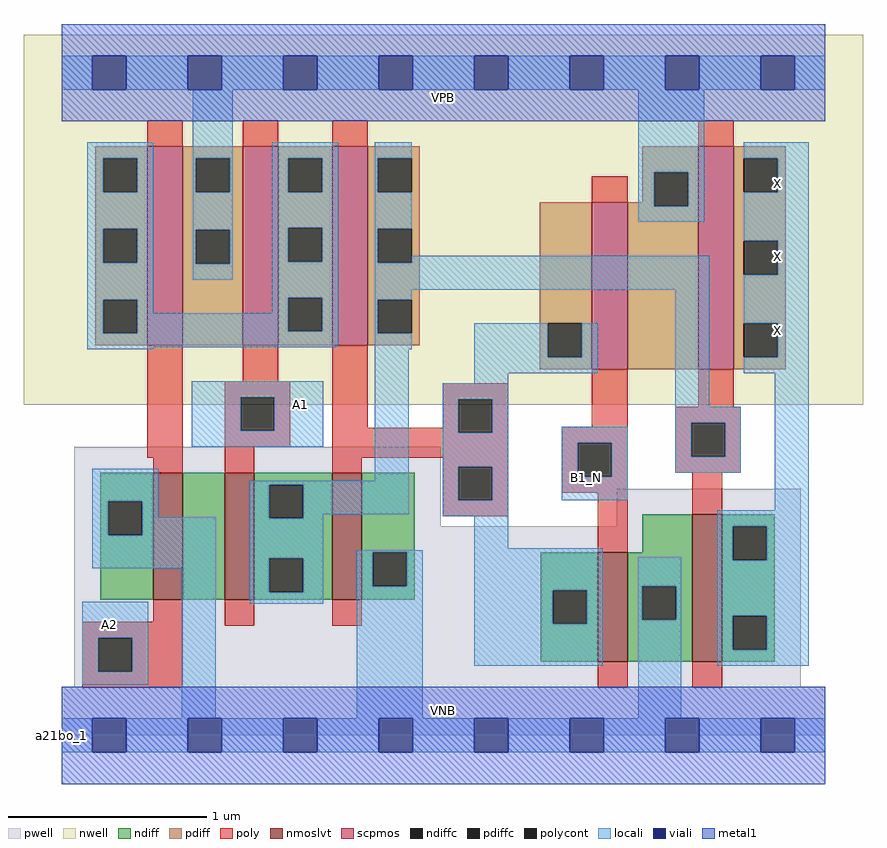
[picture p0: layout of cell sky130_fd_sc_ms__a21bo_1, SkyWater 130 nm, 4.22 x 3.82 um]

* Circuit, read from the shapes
.subckt sky130_fd_sc_ms__a21bo_1 A1 A2 B1_N VGND VNB VPB VPWR X
XM1 n1 A2 VGND VNB sky130_fd_pr__nfet_01v8_lvt w=0.64 l=0.15
XM2 n2 A1 n1 VNB sky130_fd_pr__nfet_01v8_lvt w=0.64 l=0.15
XM3 VGND n3 n2 VNB sky130_fd_pr__nfet_01v8_lvt w=0.64 l=0.15
XM4 VGND B1_N n3 VNB sky130_fd_pr__nfet_01v8_lvt w=0.55 l=0.15
XM5 X n2 VGND VNB sky130_fd_pr__nfet_01v8_lvt w=0.74 l=0.15
XM6 VPWR A2 n4 VPB sky130_fd_pr__pfet_01v8 w=1 l=0.18
XM7 n4 A1 VPWR VPB sky130_fd_pr__pfet_01v8 w=1 l=0.18
XM8 n2 n3 n4 VPB sky130_fd_pr__pfet_01v8 w=1 l=0.18
XM9 VPWR B1_N n3 VPB sky130_fd_pr__pfet_01v8 w=0.84 l=0.18
XM10 X n2 VPWR VPB sky130_fd_pr__pfet_01v8 w=1.12 l=0.18
.ends

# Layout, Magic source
magic
tech sky130A
magscale 1 2
<< nwell >>
rect -38 332 806 704
<< pwell >>
rect 13 210 381 290
rect 558 210 743 248
rect 13 49 743 210
rect 0 0 768 49
<< scpmos >>
rect 86 392 122 592
rect 182 392 218 592
rect 272 392 308 592
rect 533 368 569 536
rect 640 368 676 592
<< nmoslvt >>
rect 92 136 122 264
rect 164 136 194 264
rect 272 136 302 264
rect 539 74 569 184
rect 634 74 664 222
<< ndiff >>
rect 39 235 92 264
rect 39 201 47 235
rect 81 201 92 235
rect 39 136 92 201
rect 122 136 164 264
rect 194 252 272 264
rect 194 218 209 252
rect 243 218 272 252
rect 194 178 272 218
rect 194 144 209 178
rect 243 144 272 178
rect 194 136 272 144
rect 302 184 355 264
rect 584 184 634 222
rect 302 150 313 184
rect 347 150 355 184
rect 302 136 355 150
rect 482 146 539 184
rect 482 112 494 146
rect 528 112 539 146
rect 482 74 539 112
rect 569 150 634 184
rect 569 116 584 150
rect 618 116 634 150
rect 569 74 634 116
rect 664 210 717 222
rect 664 176 675 210
rect 709 176 717 210
rect 664 120 717 176
rect 664 86 675 120
rect 709 86 717 120
rect 664 74 717 86
<< pdiff >>
rect 34 580 86 592
rect 34 546 42 580
rect 76 546 86 580
rect 34 509 86 546
rect 34 475 42 509
rect 76 475 86 509
rect 34 438 86 475
rect 34 404 42 438
rect 76 404 86 438
rect 34 392 86 404
rect 122 580 182 592
rect 122 546 135 580
rect 169 546 182 580
rect 122 508 182 546
rect 122 474 135 508
rect 169 474 182 508
rect 122 392 182 474
rect 218 580 272 592
rect 218 546 228 580
rect 262 546 272 580
rect 218 510 272 546
rect 218 476 228 510
rect 262 476 272 510
rect 218 440 272 476
rect 218 406 228 440
rect 262 406 272 440
rect 218 392 272 406
rect 308 580 360 592
rect 308 546 318 580
rect 352 546 360 580
rect 584 566 640 592
rect 308 509 360 546
rect 584 536 596 566
rect 308 475 318 509
rect 352 475 360 509
rect 308 438 360 475
rect 308 404 318 438
rect 352 404 360 438
rect 308 392 360 404
rect 481 414 533 536
rect 481 380 489 414
rect 523 380 533 414
rect 481 368 533 380
rect 569 532 596 536
rect 630 532 640 566
rect 569 368 640 532
rect 676 580 728 592
rect 676 546 686 580
rect 720 546 728 580
rect 676 497 728 546
rect 676 463 686 497
rect 720 463 728 497
rect 676 414 728 463
rect 676 380 686 414
rect 720 380 728 414
rect 676 368 728 380
<< ndiffc >>
rect 47 201 81 235
rect 209 218 243 252
rect 209 144 243 178
rect 313 150 347 184
rect 494 112 528 146
rect 584 116 618 150
rect 675 176 709 210
rect 675 86 709 120
<< pdiffc >>
rect 42 546 76 580
rect 42 475 76 509
rect 42 404 76 438
rect 135 546 169 580
rect 135 474 169 508
rect 228 546 262 580
rect 228 476 262 510
rect 228 406 262 440
rect 318 546 352 580
rect 318 475 352 509
rect 318 404 352 438
rect 489 380 523 414
rect 596 532 630 566
rect 686 546 720 580
rect 686 463 720 497
rect 686 380 720 414
<< poly >>
rect 86 592 122 618
rect 182 592 218 618
rect 272 592 308 618
rect 640 592 676 618
rect 533 536 569 562
rect 86 279 122 392
rect 182 356 218 392
rect 92 264 122 279
rect 164 340 230 356
rect 164 306 180 340
rect 214 306 230 340
rect 164 290 230 306
rect 272 309 308 392
rect 383 338 449 354
rect 383 309 399 338
rect 272 304 399 309
rect 433 304 449 338
rect 533 310 569 368
rect 640 330 676 368
rect 164 264 194 290
rect 272 279 449 304
rect 272 264 302 279
rect 383 270 449 279
rect 383 236 399 270
rect 433 236 449 270
rect 503 294 569 310
rect 503 260 519 294
rect 553 260 569 294
rect 617 314 683 330
rect 617 280 633 314
rect 667 280 683 314
rect 617 264 683 280
rect 503 244 569 260
rect 383 220 449 236
rect 539 184 569 244
rect 634 222 664 264
rect 92 114 122 136
rect 21 98 122 114
rect 164 110 194 136
rect 272 110 302 136
rect 21 64 37 98
rect 71 64 122 98
rect 21 48 122 64
rect 539 48 569 74
rect 634 48 664 74
<< polycont >>
rect 180 306 214 340
rect 399 304 433 338
rect 399 236 433 270
rect 519 260 553 294
rect 633 280 667 314
rect 37 64 71 98
<< locali >>
rect 0 649 31 683
rect 65 649 127 683
rect 161 649 223 683
rect 257 649 319 683
rect 353 649 415 683
rect 449 649 511 683
rect 545 649 607 683
rect 641 649 703 683
rect 737 649 768 683
rect 26 580 92 596
rect 26 546 42 580
rect 76 546 92 580
rect 26 509 92 546
rect 26 475 42 509
rect 76 475 92 509
rect 26 438 92 475
rect 132 580 172 649
rect 132 546 135 580
rect 169 546 172 580
rect 132 508 172 546
rect 132 474 135 508
rect 169 474 172 508
rect 132 458 172 474
rect 212 580 278 596
rect 212 546 228 580
rect 262 546 278 580
rect 212 510 278 546
rect 212 476 228 510
rect 262 476 278 510
rect 26 404 42 438
rect 76 424 92 438
rect 212 440 278 476
rect 212 424 228 440
rect 76 406 228 424
rect 262 406 278 440
rect 76 404 278 406
rect 26 390 278 404
rect 315 580 352 596
rect 315 546 318 580
rect 315 509 352 546
rect 580 566 646 649
rect 580 532 596 566
rect 630 532 646 566
rect 580 516 646 532
rect 686 580 751 596
rect 720 546 751 580
rect 315 475 318 509
rect 686 497 751 546
rect 352 475 651 482
rect 315 448 651 475
rect 315 438 352 448
rect 315 404 318 438
rect 26 388 92 390
rect 315 388 352 404
rect 131 340 263 356
rect 131 306 180 340
rect 214 306 263 340
rect 131 290 263 306
rect 31 235 97 268
rect 315 256 349 388
rect 415 380 489 414
rect 523 380 539 414
rect 415 364 539 380
rect 415 354 449 364
rect 31 201 47 235
rect 81 219 97 235
rect 189 252 349 256
rect 81 201 155 219
rect 31 168 155 201
rect 21 98 87 134
rect 21 64 37 98
rect 71 64 87 98
rect 21 51 87 64
rect 121 17 155 168
rect 189 218 209 252
rect 243 222 349 252
rect 383 338 449 354
rect 383 304 399 338
rect 433 304 449 338
rect 617 330 651 448
rect 720 463 751 497
rect 686 414 751 463
rect 720 380 751 414
rect 686 364 751 380
rect 617 314 683 330
rect 383 270 449 304
rect 383 236 399 270
rect 433 236 449 270
rect 503 294 569 310
rect 503 260 519 294
rect 553 260 569 294
rect 617 280 633 314
rect 667 280 683 314
rect 617 264 683 280
rect 503 236 569 260
rect 243 218 263 222
rect 383 220 449 236
rect 717 226 751 364
rect 189 178 263 218
rect 415 188 449 220
rect 659 210 751 226
rect 189 144 209 178
rect 243 144 263 178
rect 189 132 263 144
rect 297 184 363 186
rect 297 150 313 184
rect 347 150 363 184
rect 297 17 363 150
rect 415 146 544 188
rect 415 112 494 146
rect 528 112 544 146
rect 415 70 544 112
rect 580 150 623 179
rect 580 116 584 150
rect 618 116 623 150
rect 580 17 623 116
rect 659 176 675 210
rect 709 176 751 210
rect 659 120 751 176
rect 659 86 675 120
rect 709 86 751 120
rect 659 70 751 86
rect 0 -17 31 17
rect 65 -17 127 17
rect 161 -17 223 17
rect 257 -17 319 17
rect 353 -17 415 17
rect 449 -17 511 17
rect 545 -17 607 17
rect 641 -17 703 17
rect 737 -17 768 17
<< viali >>
rect 31 649 65 683
rect 127 649 161 683
rect 223 649 257 683
rect 319 649 353 683
rect 415 649 449 683
rect 511 649 545 683
rect 607 649 641 683
rect 703 649 737 683
rect 31 -17 65 17
rect 127 -17 161 17
rect 223 -17 257 17
rect 319 -17 353 17
rect 415 -17 449 17
rect 511 -17 545 17
rect 607 -17 641 17
rect 703 -17 737 17
<< metal1 >>
rect 0 683 768 715
rect 0 649 31 683
rect 65 649 127 683
rect 161 649 223 683
rect 257 649 319 683
rect 353 649 415 683
rect 449 649 511 683
rect 545 649 607 683
rect 641 649 703 683
rect 737 649 768 683
rect 0 617 768 649
rect 0 17 768 49
rect 0 -17 31 17
rect 65 -17 127 17
rect 161 -17 223 17
rect 257 -17 319 17
rect 353 -17 415 17
rect 449 -17 511 17
rect 545 -17 607 17
rect 641 -17 703 17
rect 737 -17 768 17
rect 0 -49 768 -17
<< labels >>
flabel pwell s 0 0 768 49 0 FreeSans 200 0 0 0 VNB
port 5 nsew ground bidirectional
flabel nwell s 0 617 768 666 0 FreeSans 200 0 0 0 VPB
port 6 nsew power bidirectional
rlabel comment s 0 0 0 0 4 a21bo_1
flabel metal1 s 0 617 768 666 0 FreeSans 340 0 0 0 VPWR
port 7 nsew power bidirectional
flabel metal1 s 0 0 768 49 0 FreeSans 340 0 0 0 VGND
port 4 nsew ground bidirectional
flabel locali s 703 390 737 424 0 FreeSans 340 0 0 0 X
port 8 nsew signal output
flabel locali s 703 464 737 498 0 FreeSans 340 0 0 0 X
port 8 nsew signal output
flabel locali s 703 538 737 572 0 FreeSans 340 0 0 0 X
port 8 nsew signal output
flabel locali s 511 242 545 276 0 FreeSans 340 0 0 0 B1_N
port 3 nsew signal input
flabel locali s 223 316 257 350 0 FreeSans 340 0 0 0 A1
port 1 nsew signal input
flabel locali s 31 94 65 128 0 FreeSans 340 0 0 0 A2
port 2 nsew signal input
<< properties >>
string LEFsite unit
string LEFclass CORE
string FIXED_BBOX 0 0 768 666
string GDS_FILE $PDKPATH/libs.ref/sky130_fd_sc_ms/gds/sky130_fd_sc_ms.gds
string LEFsymmetry X Y
string GDS_END 1705190
string GDS_START 1698098
<< end >>
